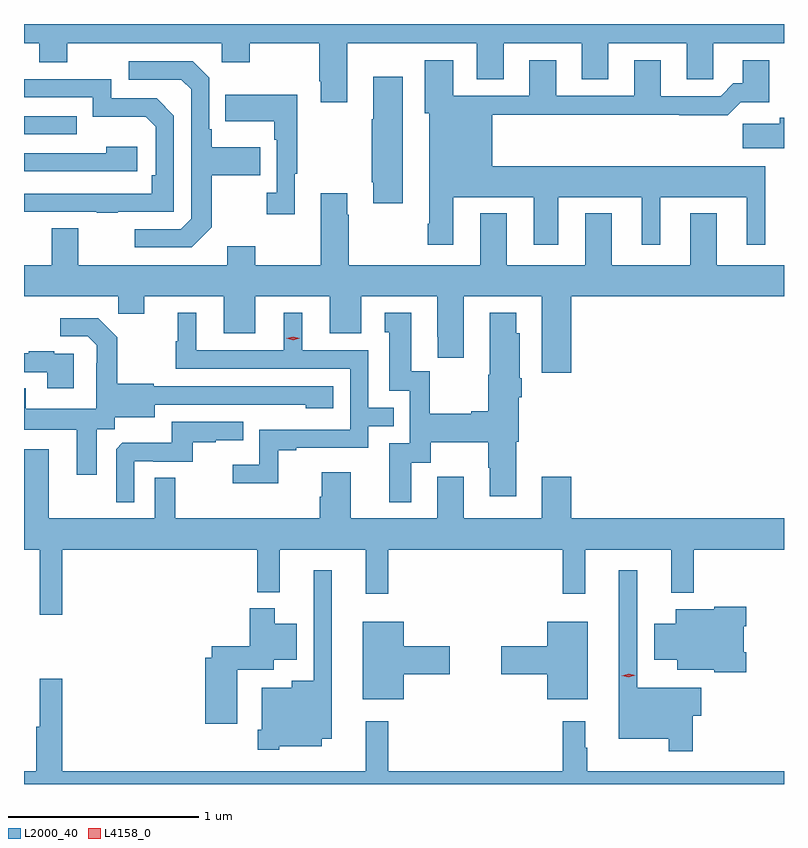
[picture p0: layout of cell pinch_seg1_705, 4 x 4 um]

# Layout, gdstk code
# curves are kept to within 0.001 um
import gdstk
lib = gdstk.Library(unit=1e-6, precision=1e-09)
def R(c, l, rs):  # rectangles x0, y0, x1, y1
    for r in rs: c.add(gdstk.rectangle(r[:2], r[2:], *l))
def P(c, l, *ps):  # polygons
    for p in ps: c.add(gdstk.Polygon(p, *l))
L2000_40 = (2000, 40)
L4158_0 = (4158, 0)

pinch_seg1_705 = lib.new_cell('pinch_seg1_705')
R(pinch_seg1_705, L2000_40, [(648.117,573.897,648.395,573.993)])
P(pinch_seg1_705, L2000_40, [(649.819,574.376),(650.501,574.376),(650.501,574.186),(650.641,574.186),(650.641,574.376),(651.053,574.376),(651.053,574.186),(651.193,574.186),(651.193,574.376),(651.605,574.376),(651.605,574.186),(651.744,574.186),(651.744,574.376),(652.117,574.376),(652.117,574.478),(648.117,574.478),(648.117,574.376),(648.197,574.376),(648.197,574.277),(648.345,574.277),(648.345,574.376),(649.158,574.376),(649.158,574.277),(649.305,574.277),(649.305,574.376),(649.672,574.376),(649.672,574.177),(649.679,574.177),(649.679,574.065),(649.819,574.065)],
  [(650.377,573.566),(650.801,573.566),(650.801,573.315),(650.929,573.315),(650.929,573.566),(651.368,573.566),(651.368,573.315),(651.466,573.315),(651.466,573.566),(651.92,573.566),(651.92,573.315),(652.018,573.315),(652.018,573.73),(650.581,573.73),(650.581,574),(651.565,574),(651.565,573.998),(651.821,573.998),(651.89,574.067),(652.039,574.067),(652.039,574.288),(651.899,574.288),(651.899,574.165),(651.85,574.165),(651.783,574.098),(651.469,574.098),(651.469,574.288),(651.329,574.288),(651.329,574.101),(650.917,574.101),(650.917,574.288),(650.777,574.288),(650.777,574.101),(650.377,574.101),(650.377,574.288),(650.225,574.288),(650.225,574.008),(650.249,574.008),(650.249,573.427),(650.242,573.427),(650.242,573.315),(650.377,573.315)],
  [(649.105,573.409),(649.105,573.682),(649.361,573.682),(649.361,573.829),(649.105,573.829),(649.105,573.925),(649.092,573.925),(649.092,574.194),(649.005,574.281),(648.669,574.281),(648.669,574.185),(648.945,574.185),(648.996,574.134),(648.996,573.453),(648.942,573.399),(648.699,573.399),(648.699,573.303),(648.999,573.303)],
  [(650.11,574.201),(649.955,574.201),(649.955,573.977),(649.948,573.977),(649.948,573.646),(649.955,573.646),(649.955,573.534),(650.11,573.534)],
  [(648.611,573.489),(648.906,573.489),(648.906,573.996),(648.816,574.086),(648.576,574.086),(648.576,574.188),(648.117,574.188),(648.117,574.092),(648.48,574.092),(648.48,573.989),(648.757,573.989),(648.81,573.936),(648.81,573.682),(648.79,573.682),(648.79,573.585),(648.117,573.585),(648.117,573.489),(648.499,573.489),(648.499,573.484),(648.611,573.484)],
  [(649.543,573.689),(649.555,573.689),(649.555,574.105),(649.177,574.105),(649.177,573.965),(649.434,573.965),(649.434,573.869),(649.446,573.869),(649.446,573.59),(649.395,573.59),(649.395,573.477),(649.543,573.477)],
  [(652.117,573.985),(652.094,573.985),(652.094,573.953),(651.9,573.953),(651.9,573.824),(652.117,573.824)],
  [(648.712,573.832),(648.551,573.832),(648.551,573.798),(648.117,573.798),(648.117,573.702),(648.712,573.702)],
  [(648.403,573.403),(648.263,573.403),(648.263,573.208),(648.117,573.208),(648.117,573.044),(648.613,573.044),(648.613,572.954),(648.751,572.954),(648.751,573.044),(649.169,573.044),(649.169,572.85),(649.333,572.85),(649.333,573.044),(649.727,573.044),(649.727,572.85),(649.891,572.85),(649.891,573.044),(650.291,573.044),(650.291,572.833),(650.294,572.833),(650.294,572.721),(650.431,572.721),(650.431,573.044),(650.843,573.044),(650.843,572.643),(650.996,572.643),(650.996,573.044),(652.117,573.044),(652.117,573.208),(651.763,573.208),(651.763,573.481),(651.623,573.481),(651.623,573.208),(651.211,573.208),(651.211,573.481),(651.071,573.481),(651.071,573.208),(650.659,573.208),(650.659,573.481),(650.519,573.481),(650.519,573.208),(649.827,573.208),(649.827,573.473),(649.819,573.473),(649.819,573.586),(649.679,573.586),(649.679,573.208),(649.335,573.208),(649.335,573.307),(649.187,573.307),(649.187,573.208),(648.403,573.208)],
  [(649.455,572.235),(649.549,572.235),(649.549,572.247),(649.929,572.247),(649.929,572.361),(650.063,572.361),(650.063,572.457),(649.929,572.457),(649.929,572.76),(649.582,572.76),(649.582,572.959),(649.484,572.959),(649.484,572.76),(649.024,572.76),(649.024,572.959),(648.926,572.959),(648.926,572.808),(648.915,572.808),(648.915,572.664),(649.833,572.664),(649.833,572.343),(649.356,572.343),(649.356,572.158),(649.215,572.158),(649.215,572.06),(649.455,572.06)],
  [(650.155,572.17),(650.257,572.17),(650.257,572.276),(650.56,572.276),(650.56,572.142),(650.567,572.142),(650.567,571.992),(650.707,571.992),(650.707,572.28),(650.72,572.28),(650.72,572.514),(650.738,572.514),(650.738,572.614),(650.725,572.614),(650.725,572.85),(650.707,572.85),(650.707,572.959),(650.567,572.959),(650.567,572.633),(650.56,572.633),(650.56,572.441),(650.471,572.441),(650.471,572.428),(650.253,572.428),(650.253,572.651),(650.155,572.651),(650.155,572.959),(650.015,572.959),(650.015,572.856),(650.039,572.856),(650.039,572.547),(650.148,572.547),(650.148,572.271),(650.039,572.271),(650.039,571.962),(650.155,571.962)],
  [(648.499,572.344),(648.594,572.344),(648.594,572.408),(648.805,572.408),(648.805,572.475),(649.599,572.474),(649.599,572.456),(649.744,572.456),(649.744,572.571),(648.801,572.571),(648.801,572.584),(648.609,572.584),(648.609,572.829),(648.509,572.929),(648.309,572.929),(648.309,572.835),(648.453,572.835),(648.5,572.788),(648.5,572.693),(648.498,572.693),(648.498,572.452),(648.127,572.452),(648.127,572.561),(648.117,572.561),(648.117,572.342),(648.395,572.342),(648.395,572.106),(648.499,572.106)],
  [(648.379,572.742),(648.275,572.742),(648.275,572.755),(648.143,572.755),(648.143,572.744),(648.117,572.744),(648.117,572.646),(648.239,572.646),(648.239,572.562),(648.379,572.562)],
  [(648.696,572.178),(648.796,572.178),(648.796,572.175),(649.004,572.175),(649.004,572.277),(649.127,572.277),(649.127,572.288),(649.271,572.288),(649.271,572.385),(648.894,572.385),(648.894,572.273),(648.635,572.273),(648.603,572.241),(648.603,571.961),(648.696,571.961)],
  [(648.317,571.712),(649.345,571.712),(649.345,571.487),(649.463,571.487),(649.463,571.712),(649.916,571.712),(649.916,571.479),(650.033,571.479),(650.033,571.712),(650.953,571.712),(650.953,571.479),(651.071,571.479),(651.071,571.712),(651.524,571.712),(651.524,571.484),(651.641,571.484),(651.641,571.712),(652.117,571.712),(652.117,571.876),(650.996,571.876),(650.996,572.095),(650.843,572.095),(650.843,571.876),(650.431,571.876),(650.431,572.095),(650.291,572.095),(650.291,571.876),(649.837,571.876),(649.837,572.119),(649.685,572.119),(649.685,571.989),(649.673,571.989),(649.673,571.876),(648.913,571.876),(648.913,572.09),(648.804,572.09),(648.804,571.876),(648.247,571.876),(648.247,572.239),(648.117,572.239),(648.117,571.712),(648.2,571.712),(648.2,571.368),(648.317,571.368)],
  [(651.638,570.838),(651.682,570.838),(651.682,570.985),(651.345,570.985),(651.345,571.603),(651.248,571.603),(651.248,570.716),(651.51,570.716),(651.51,570.651),(651.638,570.651)],
  [(649.461,570.677),(649.684,570.677),(649.684,570.716),(649.738,570.716),(649.738,571.603),(649.641,571.603),(649.641,571.021),(649.526,571.021),(649.526,570.985),(649.367,570.985),(649.367,570.763),(649.346,570.763),(649.346,570.659),(649.461,570.659)],
  [(651.917,571.171),(651.904,571.171),(651.904,571.307),(651.917,571.307),(651.917,571.411),(651.75,571.411),(651.75,571.399),(651.548,571.399),(651.548,571.321),(651.434,571.321),(651.434,571.133),(651.554,571.133),(651.554,571.079),(651.75,571.079),(651.75,571.067),(651.917,571.067)],
  [(649.24,571.079),(649.432,571.079),(649.432,571.133),(649.552,571.133),(649.552,571.321),(649.438,571.321),(649.438,571.402),(649.304,571.402),(649.304,571.202),(649.106,571.202),(649.106,571.143),(649.07,571.143),(649.07,570.795),(649.24,570.795)],
  [(650.116,571.055),(650.359,571.055),(650.359,571.202),(650.116,571.202),(650.116,571.333),(649.901,571.333),(649.901,570.923),(650.116,570.923)],
  [(651.085,571.333),(650.87,571.333),(650.87,571.202),(650.628,571.202),(650.628,571.055),(650.87,571.055),(650.87,570.923),(651.085,570.923)],
  [(650.953,570.808),(650.953,570.544),(650.033,570.544),(650.033,570.808),(649.915,570.808),(649.915,570.544),(648.317,570.544),(648.317,571.033),(648.2,571.033),(648.2,570.78),(648.181,570.78),(648.181,570.544),(648.117,570.544),(648.117,570.478),(652.117,570.478),(652.117,570.544),(651.082,570.544),(651.082,570.668),(651.07,570.668),(651.07,570.808)])
P(pinch_seg1_705, L4158_0, [(651.3,571.039),(651.264,571.047),(651.264,571.048),(651.264,571.048),(651.299,571.059),(651.334,571.051),(651.335,571.051),(651.334,571.051)],
  [(649.533,572.813),(649.497,572.823),(649.497,572.823),(649.497,572.823),(649.533,572.833),(649.569,572.823),(649.569,572.823),(649.569,572.823)])

lib.write_gds('pinch_seg1_705.gds')
